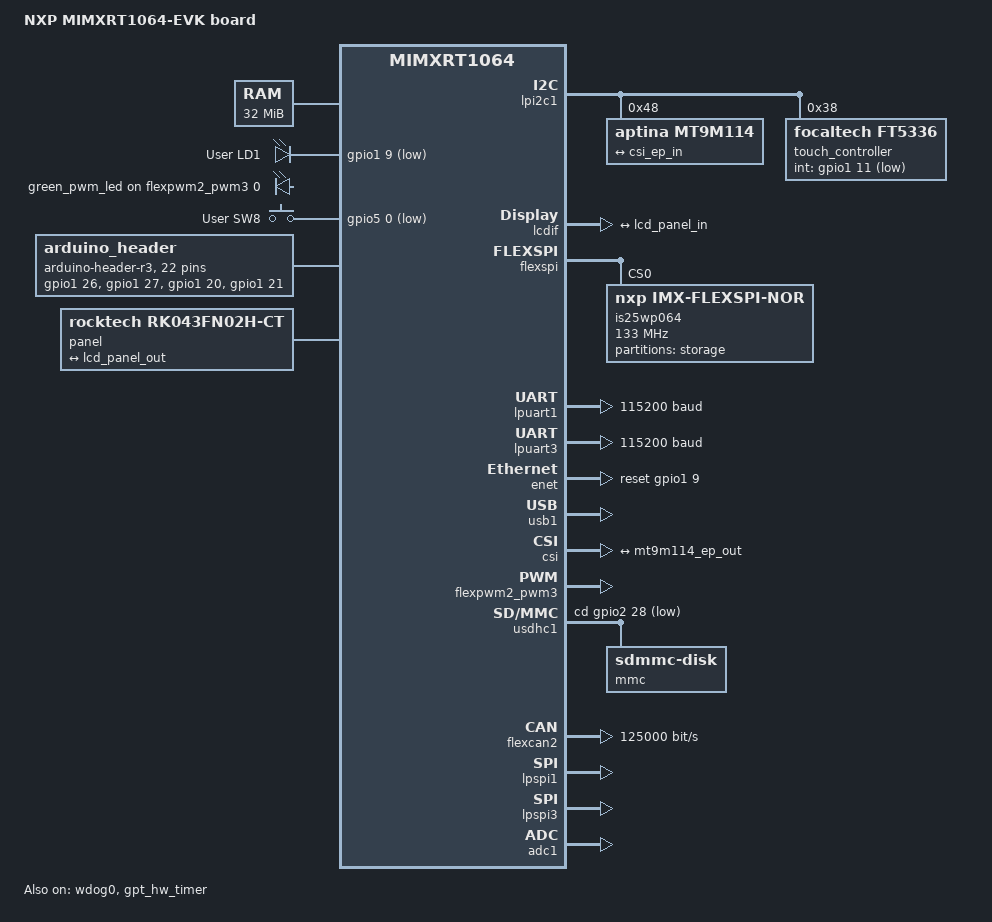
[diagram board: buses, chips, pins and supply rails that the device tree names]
/*
 * Copyright (c) 2018, NXP
 *
 * SPDX-License-Identifier: Apache-2.0
 */

/dts-v1/;

#include <nxp/nxp_rt1064.dtsi>
#include "mimxrt1064_evk-pinctrl.dtsi"

/ {
	model = "NXP MIMXRT1064-EVK board";
	compatible = "nxp,mimxrt1064";

	aliases {
		led0 = &green_led;
		pwm-led0 = &green_pwm_led;
		sw0 = &user_button;
		kscan0 = &touch_controller;
		watchdog0 = &wdog0;
		sdhc0 = &usdhc1;
	};

	chosen {
		zephyr,flash-controller = &is25wp064;
		zephyr,flash = &w25q32jvwj0;
		zephyr,code-partition = &slot0_partition;
		zephyr,sram = &sdram0;
		zephyr,itcm = &itcm;
		zephyr,dtcm = &dtcm;
		zephyr,console = &lpuart1;
		zephyr,shell-uart = &lpuart1;
		zephyr,canbus = &flexcan2;
		zephyr,display = &lcdif;
		zephyr,keyboard-scan = &touch_controller;
	};

	sdram0: memory@80000000 {
		/* Micron MT48LC16M16A2B4-6AIT:G */
		device_type = "memory";
		reg = <0x80000000 DT_SIZE_M(32)>;
	};

	leds {
		compatible = "gpio-leds";
		green_led: led-1 {
			gpios = <&gpio1 9 GPIO_ACTIVE_LOW>;
			label = "User LD1";
		};
	};

	pwmleds {
		compatible = "pwm-leds";

		green_pwm_led: green_pwm_led {
			pwms = <&flexpwm2_pwm3 0 PWM_MSEC(20)>;
		};
	};

	gpio_keys {
		compatible = "gpio-keys";
		user_button: button-1 {
			label = "User SW8";
			gpios = <&gpio5 0 (GPIO_PULL_UP | GPIO_ACTIVE_LOW)>;
		};
	};

	arduino_header: connector {
		compatible = "arduino-header-r3";
		#gpio-cells = <2>;
		gpio-map-mask = <0xffffffff 0xffffffc0>;
		gpio-map-pass-thru = <0 0x3f>;
		gpio-map = <0 0 &gpio1 26 0>,	/* A0 */
			   <1 0 &gpio1 27 0>,	/* A1 */
			   <2 0 &gpio1 20 0>,	/* A2 */
			   <3 0 &gpio1 21 0>,	/* A3 */
			   <4 0 &gpio1 17 0>,	/* A4 */
			   <5 0 &gpio1 16 0>,	/* A5 */
			   <6 0 &gpio1 23 0>,	/* D0 */
			   <7 0 &gpio1 22 0>,	/* D1 */
			   <8 0 &gpio1 11 0>,	/* D2 */
			   <9 0 &gpio1 24 0>,	/* D3 */
			   <10 0 &gpio1 9 0>,	/* D4 */
			   <11 0 &gpio1 10 0>,	/* D5 */
			   <12 0 &gpio1 18 0>,	/* D6 */
			   <13 0 &gpio1 19 0>,	/* D7 */
			   <14 0 &gpio1 3 0>,	/* D8 */
			   <15 0 &gpio1 2 0>,	/* D9 */
			   <16 0 &gpio3 13 0>,	/* D10 */
			   <17 0 &gpio3 14 0>,	/* D11 */
			   <18 0 &gpio3 15 0>,	/* D12 */
			   <19 0 &gpio3 12 0>,	/* D13 */
			   <20 0 &gpio1 17 0>,	/* D14 */
			   <21 0 &gpio1 16 0>;	/* D15 */
	};

	panel {
		compatible = "rocktech,rk043fn02h-ct";
		port {
			lcd_panel_in: endpoint {
				remote-endpoint = <&lcd_panel_out>;
			};
		};
	};

	power-states {
		idle: idle {
			compatible = "zephyr,power-state";
			power-state-name = "runtime-idle";
			exit-latency-us = <4000>;
			min-residency-us = <5000>;
		};
		suspend: suspend {
			compatible = "zephyr,power-state";
			power-state-name = "suspend-to-idle";
			exit-latency-us = <5000>;
			min-residency-us = <10000>;
		};
	};
};

&cpu0 {
	cpu-power-states = <&idle &suspend>;
};

arduino_i2c: &lpi2c1 {};

&lcdif {
	status = "okay";
	width = <480>;
	height = <272>;
	hsync = <41>;
	hfp = <4>;
	hbp = <8>;
	vsync = <10>;
	vfp = <4>;
	vbp = <2>;
	polarity = <3>;
	pixel-format = "bgr-565";
	data-buswidth = "16-bit";
	pinctrl-0 = <&pinmux_lcdif>;
	pinctrl-names = "default";
	backlight-gpios = <&gpio2 31 GPIO_ACTIVE_HIGH>;
	port {
		lcd_panel_out: endpoint {
			remote-endpoint = <&lcd_panel_in>;
		};
	};
};

&lpi2c1 {
	status = "okay";

	pinctrl-0 = <&pinmux_lpi2c1>;
	pinctrl-names = "default";

	mt9m114: mt9m114@48 {
		compatible = "aptina,mt9m114";
		reg = <0x48>;
		status = "okay";

		port {
			mt9m114_ep_out: endpoint {
				remote-endpoint = <&csi_ep_in>;
			};
		};
	};

	touch_controller: ft5336@38 {
		compatible = "focaltech,ft5336";
		reg = <0x38>;
		int-gpios = <&gpio1 11 GPIO_ACTIVE_LOW>;
	};
};

&flexspi {
	status = "okay";
	pinctrl-0 = <&pinmux_flexspi1>;
	pinctrl-names = "default";
	ahb-prefetch;
	ahb-read-addr-opt;
	rx-clock-source = <1>;
	reg = <0x402a8000 0x4000>, <0x60000000 DT_SIZE_M(8)>;
	is25wp064: is25wp064@0 {
		compatible = "nxp,imx-flexspi-nor";
		size = <67108864>;
		reg = <0>;
		spi-max-frequency = <133000000>;
		status = "okay";
		jedec-id = [9d 70 17];

		partitions {
			compatible = "fixed-partitions";
			#address-cells = <1>;
			#size-cells = <1>;

			storage_partition: partition@0 {
				label = "storage";
				reg = <0x00000000 DT_SIZE_M(8)>;
			};
		};
	};
};

&w25q32jvwj0 {
	partitions {
		compatible = "fixed-partitions";
		#address-cells = <1>;
		#size-cells = <1>;

		boot_partition: partition@0 {
			label = "mcuboot";
			reg = <0x00000000 DT_SIZE_K(64)>;
		};
		slot0_partition: partition@10000 {
			label = "image-0";
			reg = <0x00010000 DT_SIZE_K(1984)>;
		};
		slot1_partition: partition@200000 {
			label = "image-1";
			reg = <0x00200000 DT_SIZE_K(1984)>;
		};
		scratch_partition: partition@3f0000 {
			label = "image-scratch";
			reg = <0x003f0000 DT_SIZE_K(64)>;
		};
	};
};

&lpuart1 {
	status = "okay";
	pinctrl-0 = <&pinmux_lpuart1>;
	pinctrl-1 = <&pinmux_lpuart1_sleep>;
	pinctrl-names = "default", "sleep";
	current-speed = <115200>;
};

arduino_serial: &lpuart3 {
	current-speed = <115200>;
	pinctrl-0 = <&pinmux_lpuart3>;
	pinctrl-1 = <&pinmux_lpuart3_sleep>;
	pinctrl-names = "default", "sleep";
};

&enet {
	status = "okay";
	pinctrl-0 = <&pinmux_enet>;
	pinctrl-names = "default";
	int-gpios = <&gpio1 10 GPIO_ACTIVE_HIGH>;
	reset-gpios = <&gpio1 9 GPIO_ACTIVE_HIGH>;
	ptp {
		pinctrl-0 = <&pinmux_ptp>;
		pinctrl-names = "default";
		status = "okay";
	};
};

zephyr_udc0: &usb1 {
	status = "okay";
};

&csi {
	status = "okay";
	sensor = <&mt9m114>;
	pinctrl-0 = <&pinmux_csi>;
	pinctrl-names = "default";

	port {
		csi_ep_in: endpoint {
			remote-endpoint = <&mt9m114_ep_out>;
		};
	};
};

&flexpwm2_pwm3 {
	status = "okay";
	pinctrl-0 = <&pinmux_flexpwm2>;
	pinctrl-names = "default";
};

&usdhc1 {
	status = "okay";
	pwr-gpios = <&gpio1 19 GPIO_ACTIVE_HIGH>;
	cd-gpios = <&gpio2 28 GPIO_ACTIVE_LOW>;
	pinctrl-0 = <&pinmux_usdhc1>;
	pinctrl-1 = <&pinmux_usdhc1_slow>;
	pinctrl-2 = <&pinmux_usdhc1_med>;
	pinctrl-3 = <&pinmux_usdhc1_fast>;
	pinctrl-names = "default", "slow", "med", "fast";
	mmc {
		compatible = "zephyr,sdmmc-disk";
		status = "okay";
	};
};

&edma0 {
	status = "okay";
};

&flexcan2 {
	status = "okay";
	bus-speed = <125000>;
	pinctrl-0 = <&pinmux_flexcan2>;
	pinctrl-names = "default";

	can-transceiver {
		max-bitrate = <5000000>;
	};
};

&wdog0 {
	status = "okay";
};

&lpspi1 {
	status = "okay";
	/* DMA channels 0 and 1, muxed to LPSPI1 RX and TX */
	dmas = <&edma0 0 13>, <&edma0 1 14>;
	dma-names = "rx", "tx";
	pinctrl-0 = <&pinmux_lpspi1>;
	pinctrl-names = "default";
};

&lpspi3 {
	status = "okay";
	/* DMA channels 2 and 3, muxed to LPSPI3 RX and TX */
	dmas = <&edma0 2 15>, <&edma0 3 16>;
	dma-names = "rx", "tx";
	pinctrl-0 = <&pinmux_lpspi3>;
	pinctrl-names = "default";
};

&adc1 {
	status = "okay";
	pinctrl-0 = <&pinmux_adc1>;
	pinctrl-names = "default";
};

/* Enable GPT for use as a hardware timer. This disables Cortex Systick.
 * to use systick, change this node from "gpt_hw_timer" to "systick"
 */
&gpt_hw_timer {
	status = "okay";
};

&itm {
	pinctrl-0 = <&pinmux_swo>;
	pinctrl-names = "default";
};
